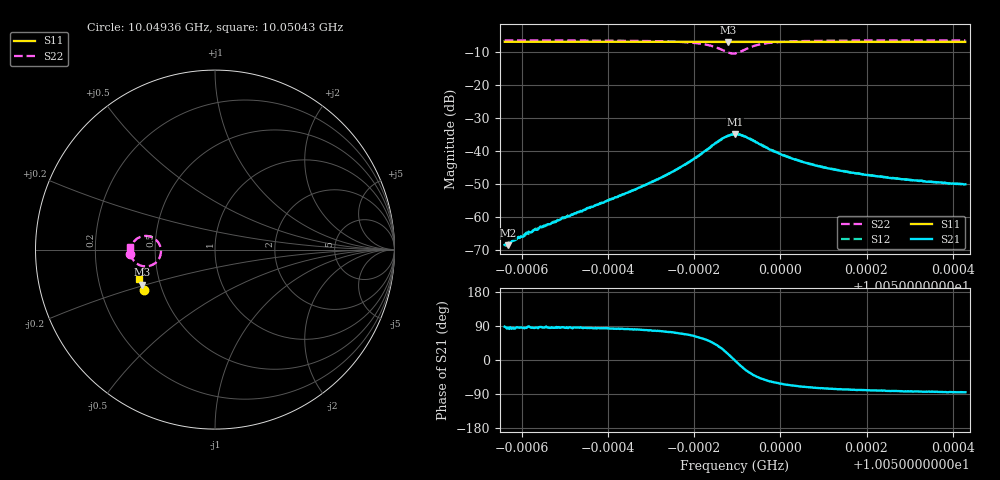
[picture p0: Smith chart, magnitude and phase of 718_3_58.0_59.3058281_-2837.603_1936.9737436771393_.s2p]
#  HZ  S  RI  R  50.00
! Rohde & Schwarz Vector Network Analyzer
! Rohde-Schwarz,ZNB20-2Port,1311601062101988,3.16
! Created: UTC 3/21/2024, 1:22:28 AM
! freq[Hz]  re:S11  im:S11  re:S21  im:S21  re:S12  im:S12  re:S22  im:S22
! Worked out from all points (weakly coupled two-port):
!   401 points, 10.04936 GHz to 10.05043 GHz, reference 50 ohm
!   highest |S21| = -34.91 dB at 10.04989 GHz (marker M1); lowest = -68.5 dB at 10.04937 GHz (marker M2)
!   lowest |S11| = -6.9 dB at 10.04988 GHz (marker M3), VSWR 2.64, Z = 19.7 - j9.73 ohm
!   |S11| at or under -10 dB: nowhere
!   |S22| runs from -10.4 to -6.5 dB; largest |S21 - S12| = 0.0016
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1.0049361e10  -0.393 -0.2274  1.31e-05 0.000379  4.31e-06 0.000389  -0.4739 -0.0232
1.0049369e10  -0.3933 -0.227  2.83e-05 0.000374  -9.83e-06 0.000407  -0.4739 -0.0224
1.0049374e10  -0.3935 -0.2265  2.41e-05 0.000409  -4.22e-06 0.000424  -0.4739 -0.0219
1.0049414e10  -0.3947 -0.2243  2.21e-05 0.000575  8.05e-06 0.000571  -0.4737 -0.0179
1.0049468e10  -0.3964 -0.2211  7.05e-05 0.000784  3.56e-06 0.000814  -0.4733 -0.012
1.00495e10  -0.3973 -0.2191  7.89e-05 0.00098  7.1e-06 0.000967  -0.4729 -0.00828
1.004954e10  -0.3986 -0.2168  9.79e-05 0.00121  9.5e-06 0.00124  -0.4722 -0.00311
1.0049617e10  -0.401 -0.2122  0.00026 0.00199  0.000141 0.00197  -0.4698 0.00864
1.0049719e10  -0.4038 -0.206  0.000879 0.00373  0.000662 0.00375  -0.4609 0.0312
1.0049775e10  -0.4052 -0.2023  0.00216 0.0056  0.00182 0.00574  -0.4461 0.0512
1.004982e10  -0.4061 -0.1993  0.00519 0.00789  0.00465 0.00816  -0.4138 0.0714
1.0049855e10  -0.4064 -0.197  0.011 0.00858  0.0103 0.00917  -0.3583 0.0715
1.0049879e10  -0.4064 -0.1961  0.0165 0.00464  0.0159 0.00585  -0.3107 0.0309
1.0049895e10  -0.4067 -0.1956  0.018 -0.000479  0.0178 0.00104  -0.3016 -0.0196
1.0049908e10  -0.4072 -0.1952  0.0169 -0.00475  0.0173 -0.00336  -0.3173 -0.0586
1.0049924e10  -0.4077 -0.1947  0.0137 -0.00795  0.0144 -0.00704  -0.3511 -0.086
1.0049962e10  -0.4093 -0.1927  0.00731 -0.00911  0.00809 -0.00886  -0.416 -0.0882
1.0050002e10  -0.4109 -0.1903  0.0041 -0.00792  0.0046 -0.00769  -0.4465 -0.0685
1.0050074e10  -0.413 -0.1857  0.00189 -0.00597  0.00229 -0.00589  -0.4652 -0.0414
1.0050162e10  -0.4153 -0.1803  0.000966 -0.00464  0.00124 -0.00463  -0.4718 -0.0215
1.0050253e10  -0.4176 -0.1747  0.000573 -0.00388  0.000815 -0.00388  -0.4739 -0.0075
1.0050429e10  -0.4217 -0.1639  0.000271 -0.00313  0.000407 -0.00309  -0.4749 0.0122
